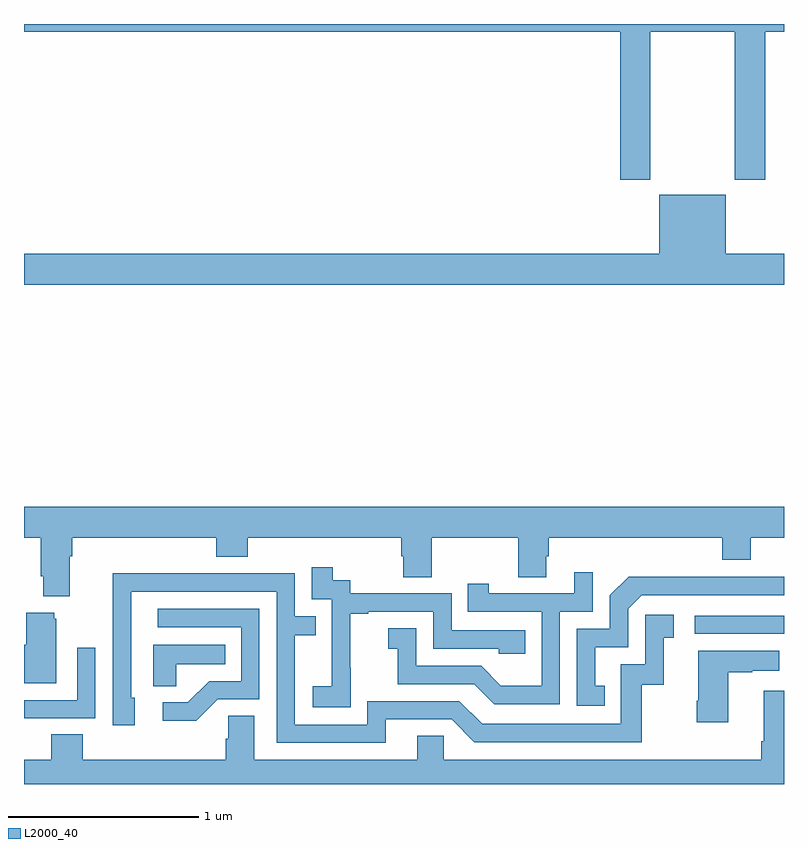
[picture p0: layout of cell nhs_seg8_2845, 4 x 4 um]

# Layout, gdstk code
import gdstk
lib = gdstk.Library(unit=1e-6, precision=1e-09)
def R(c, l, rs):  # rectangles x0, y0, x1, y1
    for r in rs: c.add(gdstk.rectangle(r[:2], r[2:], *l))
def P(c, l, *ps):  # polygons
    for p in ps: c.add(gdstk.Polygon(p, *l))
L2000_40 = (2000, 40)

nhs_seg8_2845 = lib.new_cell('nhs_seg8_2845')
R(nhs_seg8_2845, L2000_40, [(294.531,1086.69,295,1086.786)])
P(nhs_seg8_2845, L2000_40, [(294.297,1089.86),(294.742,1089.86),(294.742,1089.081),(294.902,1089.081),(294.902,1089.86),(295,1089.86),(295,1089.9),(291,1089.9),(291,1089.86),(294.137,1089.86),(294.137,1089.081),(294.297,1089.081)],
  [(295,1088.692),(294.694,1088.692),(294.694,1089.001),(294.344,1089.001),(294.344,1088.692),(291,1088.692),(291,1088.528),(295,1088.528)],
  [(291.241,1087.1),(291.254,1087.1),(291.254,1087.196),(292.013,1087.196),(292.013,1087.097),(292.178,1087.097),(292.178,1087.196),(292.985,1087.196),(292.985,1087.098),(292.997,1087.098),(292.997,1086.988),(293.145,1086.988),(293.145,1087.196),(293.602,1087.196),(293.602,1086.988),(293.749,1086.988),(293.749,1087.098),(293.762,1087.098),(293.762,1087.196),(294.674,1087.196),(294.674,1087.079),(294.826,1087.079),(294.826,1087.196),(295,1087.196),(295,1087.36),(291,1087.36),(291,1087.196),(291.089,1087.196),(291.089,1086.994),(291.101,1086.994),(291.101,1086.887),(291.241,1086.887)],
  [(292.719,1086.511),(292.718,1086.511),(292.718,1086.795),(292.813,1086.795),(292.813,1086.807),(293.154,1086.807),(293.154,1086.612),(293.499,1086.612),(293.499,1086.585),(293.639,1086.585),(293.639,1086.708),(293.25,1086.708),(293.25,1086.903),(292.716,1086.903),(292.716,1086.972),(292.624,1086.972),(292.624,1087.042),(292.515,1087.042),(292.515,1086.873),(292.62,1086.873),(292.62,1086.644),(292.619,1086.644),(292.619,1086.415),(292.521,1086.415),(292.521,1086.305),(292.719,1086.305)],
  [(293.82,1086.807),(293.994,1086.807),(293.994,1087.015),(293.897,1087.015),(293.897,1086.903),(293.446,1086.903),(293.446,1086.955),(293.335,1086.955),(293.335,1086.807),(293.724,1086.807),(293.724,1086.418),(293.51,1086.418),(293.406,1086.522),(293.064,1086.522),(293.064,1086.721),(292.917,1086.721),(292.917,1086.611),(292.966,1086.611),(292.966,1086.426),(293.369,1086.426),(293.474,1086.321),(293.82,1086.321)],
  [(292.903,1086.24),(293.25,1086.24),(293.37,1086.12),(294.25,1086.12),(294.25,1086.423),(294.368,1086.423),(294.368,1086.669),(294.421,1086.669),(294.421,1086.79),(294.27,1086.79),(294.27,1086.531),(294.141,1086.531),(294.141,1086.216),(293.412,1086.216),(293.292,1086.336),(292.806,1086.336),(292.806,1086.213),(292.425,1086.213),(292.425,1086.682),(292.535,1086.682),(292.535,1086.783),(292.425,1086.783),(292.425,1087.008),(291.929,1087.008),(291.929,1087.01),(291.466,1087.01),(291.466,1086.703),(291.468,1086.703),(291.468,1086.21),(291.583,1086.21),(291.583,1086.354),(291.564,1086.354),(291.564,1086.912),(292.329,1086.912),(292.329,1086.117),(292.903,1086.117)],
  [(294.056,1086.417),(294.007,1086.417),(294.007,1086.621),(294.18,1086.621),(294.18,1086.822),(294.252,1086.894),(295,1086.894),(295,1086.99),(294.59,1086.99),(294.59,1086.992),(294.182,1086.992),(294.084,1086.894),(294.084,1086.717),(293.91,1086.717),(293.91,1086.312),(294.056,1086.312)],
  [(292.02,1086.345),(292.239,1086.345),(292.239,1086.822),(291.705,1086.822),(291.705,1086.726),(292.143,1086.726),(292.143,1086.441),(291.974,1086.441),(291.863,1086.33),(291.729,1086.33),(291.729,1086.233),(291.907,1086.233)],
  [(291.169,1086.771),(291.158,1086.771),(291.158,1086.802),(291.011,1086.802),(291.011,1086.634),(291,1086.634),(291,1086.431),(291.169,1086.431)],
  [(291.801,1086.53),(292.058,1086.53),(292.058,1086.634),(291.68,1086.634),(291.68,1086.415),(291.801,1086.415)],
  [(291.059,1086.246),(291.375,1086.246),(291.375,1086.616),(291.279,1086.616),(291.279,1086.342),(291,1086.342),(291,1086.245),(291.059,1086.245)],
  [(294.706,1086.487),(294.833,1086.487),(294.833,1086.497),(294.976,1086.497),(294.976,1086.601),(294.548,1086.601),(294.548,1086.337),(294.541,1086.337),(294.541,1086.225),(294.706,1086.225)],
  [(295,1086.391),(294.893,1086.391),(294.893,1086.124),(294.881,1086.124),(294.881,1086.028),(293.208,1086.028),(293.208,1086.155),(293.069,1086.155),(293.069,1086.028),(292.213,1086.028),(292.213,1086.26),(292.074,1086.26),(292.074,1086.137),(292.061,1086.137),(292.061,1086.028),(291.308,1086.028),(291.308,1086.161),(291.143,1086.161),(291.143,1086.028),(291,1086.028),(291,1085.9),(295,1085.9)])

lib.write_gds('nhs_seg8_2845.gds')
